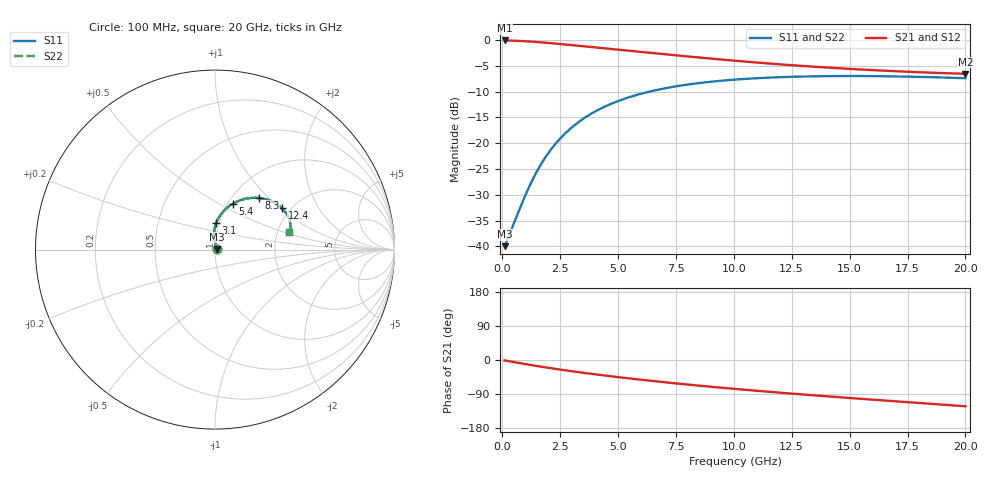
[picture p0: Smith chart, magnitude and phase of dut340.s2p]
! Touchstone file exported from HFSS 2024.1.0
!  File:  C:/UserFiles/LocalFiles/RDL_TSV_Batchsim/temp_RDL_TSV_340_1779634675.aedt
!  Generated:  11:16:02 PM May 24, 2026
!  Design:  RDL_TSV
!  Project:  temp_RDL_TSV_340_1779634675
!  Setup:  Setup1
!  Solution:  Sweep
! Variables:
!  dtsv = 7.99um
!  hbump = 3um
!  htsv = 53.08um
!  ldown = 267.19um
!  lrdl = 231.65um
!  p = 40
!  p1 = 57.85um
!  rhole = 10um
!  subl = 1728.17um
!  t = 450um
!  tdown = 3.74um
!  trdl = 3.77um
!  viad = 10um
!  wdown = 20.24um
!  wrdl = 17.88um
!  xbump = 18um
# GHz S MA R 50.000000
! Terminal data exported
! Port[1] = TM1_1_T1
! Port[2] = TM1_4_T1
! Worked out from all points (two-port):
!   200 points, 100 MHz to 20 GHz, reference 50 ohm
!   highest |S21| = -0.09 dB at 100 MHz (marker M1); lowest = -6.6 dB at 20 GHz (marker M2)
!   |S21| within 3 dB of the highest: start of sweep to 7.761 GHz
!   lowest |S11| = -40.0 dB at 100 MHz (marker M3), VSWR 1.02, Z = 51 + j0.311 ohm
!   |S11| at or under -10 dB: start of sweep to 6.362 GHz
!   |S22| runs from -40.0 to -7.0 dB; largest |S21 - S12| = 9.1e-15
!   S11 on the Smith chart (normalised r, x): 100 MHz: 1.02, +0.01; 3.1 GHz: 0.97, +0.29; 5.4 GHz: 1.06, +0.59; 8.3 GHz: 1.31, +0.88; 12.4 GHz: 1.82, +1.03; 20 GHz: 2.32, +0.56
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0.1  0.01004 17.7  0.9902 -1.1  0.9902 -1.1  0.01004 17.7
! Gamma 0 0 0 0
! Port Impedance 50 0 50 0
0.5  0.01669 59.8  0.9851 -5.6  0.9851 -5.6  0.01669 59.8
1  0.03141 84.3  0.9731 -10.9  0.9731 -10.9  0.03141 84.3
1.3  0.04396 90.7  0.9634 -14.0  0.9634 -14.0  0.04395 90.7
1.6  0.05873 93.5  0.9522 -17.0  0.9522 -17.0  0.05872 93.5
1.9  0.07517 94.1  0.9401 -19.8  0.9401 -19.8  0.07515 94.1
2.3  0.09878 92.9  0.9231 -23.5  0.9231 -23.5  0.09876 92.9
2.7  0.1234 90.5  0.9056 -27.1  0.9056 -27.1  0.1234 90.5
3.1  0.1482 87.5  0.888 -30.5  0.888 -30.5  0.1482 87.5
3.5  0.1727 84.2  0.8704 -33.7  0.8704 -33.7  0.1726 84.2
3.9  0.1964 80.8  0.853 -36.9  0.853 -36.9  0.1963 80.8
4.4  0.2246 76.6  0.8315 -40.7  0.8315 -40.7  0.2245 76.6
5.4  0.2752 68.6  0.79 -48.0  0.79 -48.0  0.2751 68.6
6.1  0.3058 63.4  0.7622 -52.8  0.7622 -52.8  0.3057 63.4
6.8  0.3325 58.7  0.7355 -57.4  0.7355 -57.4  0.3324 58.7
8.3  0.3778 49.7  0.6828 -66.6  0.6828 -66.6  0.3776 49.7
10.1  0.4141 40.7  0.6282 -76.6  0.6282 -76.6  0.4139 40.7
12.4  0.4393 31.6  0.5721 -88.2  0.5721 -88.2  0.4391 31.5
13.4  0.4446 28.2  0.552 -93.0  0.552 -93.0  0.4444 28.2
15  0.4477 23.5  0.5248 -100.3  0.5248 -100.3  0.4474 23.5
16.7  0.4449 19.4  0.5016 -107.8  0.5016 -107.8  0.4446 19.3
20  0.4263 13.3  0.4701 -122.1  0.4701 -122.1  0.4258 13.3
